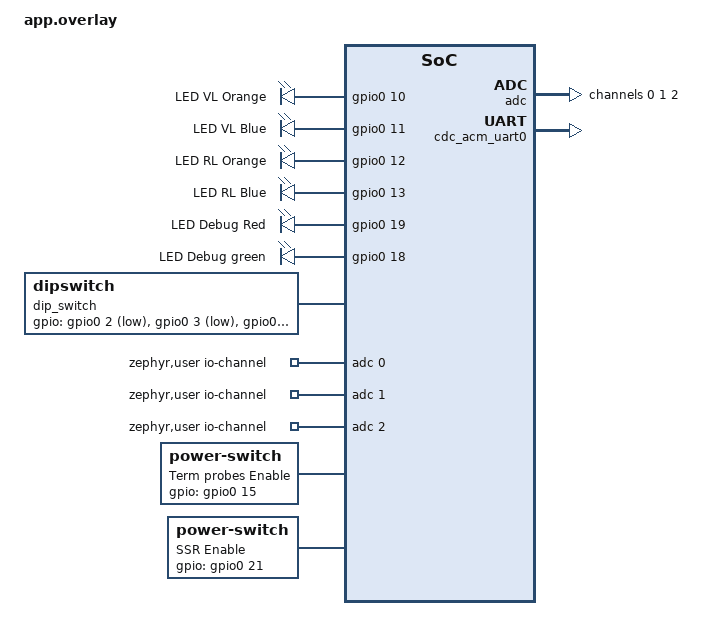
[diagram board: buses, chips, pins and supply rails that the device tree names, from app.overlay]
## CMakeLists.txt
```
cmake_minimum_required(VERSION 3.20.0)
set(BOARD rpi_pico)

find_package(Zephyr REQUIRED HINTS $ENV{ZEPHYR_BASE})
project(openzirk)


target_include_directories(app PRIVATE inc)
target_sources(app PRIVATE src/main.c src/current_sense.c src/temp_sense.c src/io.c)
```

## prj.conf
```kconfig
CONFIG_GPIO=y
CONFIG_ADC=y
CONFIG_EVENTS=y

CONFIG_MAIN_THREAD_PRIORITY=2

CONFIG_USB_DEVICE_STACK=y
CONFIG_USB_DEVICE_MANUFACTURER="OverEngineering Inc."
CONFIG_USB_DEVICE_PRODUCT="OpenZirk"
CONFIG_USB_DEVICE_PID=0x4712
CONFIG_USB_DEVICE_VID=0x2e8a
CONFIG_USB_DEVICE_INITIALIZE_AT_BOOT=y

CONFIG_TIMING_FUNCTIONS=y
```

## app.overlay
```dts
/ {
    openzirk_leds {
        compatible = "gpio-leds";

        led_vl_o: led_vl_o {
            gpios = <&gpio0 10 GPIO_ACTIVE_HIGH>;
            label = "LED VL Orange";
        };

        led_vl_b: led_vl_b {
            gpios = <&gpio0 11 GPIO_ACTIVE_HIGH>;
            label = "LED VL Blue";
        };

        led_rl_o: led_rl_o {
            gpios = <&gpio0 12 GPIO_ACTIVE_HIGH>;
            label = "LED RL Orange";
        };

        led_rl_b: led_rl_b {
            gpios = <&gpio0 13 GPIO_ACTIVE_HIGH>;
            label = "LED RL Blue";
        };

        led_debug_r: led_debug_r {
            gpios = <&gpio0 19 GPIO_ACTIVE_HIGH>;
            label = "LED Debug Red";
        };

        led_debug_g: led_debug_g {
            gpios = <&gpio0 18 GPIO_ACTIVE_HIGH>;
            label = "LED Debug green";
        };
    };

    dip_switch {
        compatible = "dipswitch";
        gpios = <&gpio0 2 (GPIO_ACTIVE_LOW | GPIO_PULL_UP)>,
                <&gpio0 3 (GPIO_ACTIVE_LOW | GPIO_PULL_UP)>,
                <&gpio0 4 (GPIO_ACTIVE_LOW | GPIO_PULL_UP)>,
                <&gpio0 5 (GPIO_ACTIVE_LOW | GPIO_PULL_UP)>;
    };

    zephyr,user  {
        io-channels = <&adc 0>, <&adc 1>, <&adc 2>;

        current_sensor_threshold_mv = <250>;
        current_sensor_minimal_active_time_ms = <900>;
        temp_warm_threshold = <35>;

        pump_duty_cycle_s = <60>;
        pump_mandatory_cooldown_min = <10>;
    };

    chosen {
        zephyr,console = &cdc_acm_uart0;
    };


    temp_probes_enable: temp_probes_enable {
        compatible = "power-switch";
        gpios = <&gpio0 15 GPIO_ACTIVE_HIGH>;
        label = "Term probes Enable";
    };
    ssr: ssr {
        compatible = "power-switch";
        gpios = <&gpio0 21 GPIO_ACTIVE_HIGH>;
        label = "SSR Enable";
    };

};

&adc {
    vref-mv = <3000>;
    #address-cells = <1>;
	#size-cells = <0>;

    channel@0 {
		reg = <0>;
		zephyr,gain = "ADC_GAIN_1";
		zephyr,reference = "ADC_REF_INTERNAL";
		zephyr,acquisition-time = <ADC_ACQ_TIME_DEFAULT>;
		zephyr,resolution = <12>;
	};
    channel@1 {
		reg = <1>;
		zephyr,gain = "ADC_GAIN_1";
		zephyr,reference = "ADC_REF_INTERNAL";
		zephyr,acquisition-time = <ADC_ACQ_TIME_DEFAULT>;
		zephyr,resolution = <12>;
	};
    channel@2 {
		reg = <2>;
		zephyr,gain = "ADC_GAIN_1";
		zephyr,reference = "ADC_REF_INTERNAL";
		zephyr,acquisition-time = <ADC_ACQ_TIME_DEFAULT>;
		zephyr,resolution = <12>;
	};
 };

 &zephyr_udc0 {
    cdc_acm_uart0: cdc_acm_uart0 {
        compatible = "zephyr,cdc-acm-uart";
    };
 };
```

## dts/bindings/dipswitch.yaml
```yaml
description: GPIO 

compatible: "dipswitch"

properties:
  gpios:
    type: phandle-array
    required: true
    description: |
      An array of the GPIOs connected to the switch
```

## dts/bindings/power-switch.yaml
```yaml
description: GPIO pin to switch a power output on or off

compatible: "power-switch"

properties:
  gpios:
    type: phandle-array
    required: true
    description: |
      The GPIO connected to the load driver.

  label:
    type: string
    required: false
    description: |
      A textual description of the device connected to the GPIO
```

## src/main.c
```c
/*
 * Copyright (c) 2024 Garwin
 *
 */

#include "app.h"
#include "current_sense.h"
#include "temp_sense.h"
#include "io.h"

#include <stdio.h>
#include <zephyr/kernel.h>
#include <zephyr/drivers/gpio.h>
#include <zephyr/drivers/adc.h>

/* 1000 msec = 1 sec */
#define MAINLOOP_MAX_EVENT_WAIT K_SECONDS(30)

#define DEFAULT_STACK_SIZE 512

K_THREAD_STACK_DEFINE(current_sense_thread_stack, DEFAULT_STACK_SIZE);
struct k_thread current_sense_thread;

K_THREAD_STACK_DEFINE(temp_sense_thread_stack, DEFAULT_STACK_SIZE);
struct k_thread temp_sense_thread;

K_EVENT_DEFINE(sensor_events);

bool enable_debug_output = false;
bool circulate_while_hotwater_pouring = false;

void disable_activation_debug_led(struct k_timer *timer) {
    (void)timer;
    set_debug_led_red(0);
}
K_TIMER_DEFINE(activation_debug_led_timer, NULL, NULL);

int main(void)
{
    printk("Application starting up.\n");
    io_init();
    uint8_t dipswitch_state = get_dipswitch_status();
    printk("Application config %x\n", dipswitch_state);
    if (dipswitch_state & 1) {
        printk("Debug output enabled\n");
        enable_debug_output = true;
    }
    if (dipswitch_state & 8) {
        printk("Circulate while hotwater pouring enabled\n");
        circulate_while_hotwater_pouring = true;
        if (dipswitch_state & 2) {
            printk("Initial double circlulation cycle.\n");
        }
    }

    struct TempSensors temp_sensors = {ATOMIC_INIT(INVALID), ATOMIC_INIT(INVALID)};


    (void)k_thread_create(&current_sense_thread, current_sense_thread_stack,
                          K_THREAD_STACK_SIZEOF(current_sense_thread_stack),
                          current_sense_main, &sensor_events, NULL, NULL, 0, K_USER,
                          K_NO_WAIT);
    (void)k_thread_create(&temp_sense_thread, temp_sense_thread_stack,
                          K_THREAD_STACK_SIZEOF(temp_sense_thread_stack),
                          temp_sense_main, &sensor_events, &temp_sensors, NULL, 2, K_USER,
                          K_NO_WAIT);

    int64_t last_pump_activation = k_uptime_get() -
                                   DT_PROP(DT_PATH(zephyr_user), pump_mandatory_cooldown_min) * 60 * 1000;

    while (1) {
        int32_t events = k_event_wait(&sensor_events, EVENT_CURRENT_SENSE, true, MAINLOOP_MAX_EVENT_WAIT);
        int64_t now = k_uptime_get();
        if (events == 0) {
            // still nothing we check when we last ran as we would like to activate the pump at least daily
            if (now - last_pump_activation < 24*60*60*1000) {
                // was run in the last 24h. Continue waiting
                continue;
            }
            printk("Issue daily cycle.\n");
        }
        if (enable_debug_output) {
            set_debug_led_red(1);
            k_timer_start(&activation_debug_led_timer, K_SECONDS(5), K_NO_WAIT);
        }
        if (circulate_while_hotwater_pouring) {
            // we circulate one cycle for the usual pump time (or x2) and then
            // in following cycles 30s, then after each such cycle disable the circulation pump
            // and see if the current sensor is still reporting current after 5s cooldown
            // (otherwise the circulation pump may keep the heat water pump active more or less indefinately)
                set_pump(1);
                int64_t delta = k_uptime_delta(&last_pump_activation);
                if (delta < 2000) {
                    // the pump was active less than a second ago, we probe every 30s
                    printk("Following cycle. Circulate for 30s.\n");
                    k_sleep(K_SECONDS(30));
                } else {
                    uint32_t cycle_time = DT_PROP(DT_PATH(zephyr_user), pump_duty_cycle_s);
                    if (dipswitch_state & 2) {
                        cycle_time *= 2;
                    }
                    printk("First cycle. Circulate for %is.\n", cycle_time);
                    k_sleep(K_SECONDS(cycle_time));
                }
                printk("Stop pump\n");
                set_pump(0);
                k_sleep(K_SECONDS(5));
                last_pump_activation = k_uptime_get();
                k_event_clear(&sensor_events, EVENT_CURRENT_SENSE);
                continue;
        } else {
            // we run if RL temp isn't still "warm"
            if (atomic_get(&temp_sensors.rl_status) == WARM) {
                printk("Current sensor detected but RL still warm.");
                continue;
            }
            if (now - last_pump_activation < DT_PROP(DT_PATH(zephyr_user), pump_mandatory_cooldown_min)*60*1000) {
                printf("Current sensor detected but still in mandatory cooldown\n.");
                continue;
            }

            // now run for duty cycle time or until RL becomes warm again
            printk("Start pump.\n");
            for (size_t i = 0; i < 2; ++i) {
                set_pump(1);
                last_pump_activation = k_uptime_get();
                events = k_event_wait(&sensor_events, EVENT_RL_WARM, true,
                                      K_SECONDS(DT_PROP(DT_PATH(zephyr_user), pump_duty_cycle_s)));
                if (events == 0) {
                    printk("Cycle time ended.\n");
                } else {
                    printk("RL sensor reports WARM\n");
                }
                // if VL still isn't warm, it may have taken a long time to get warm water from the tank
                // and we do an extra duty cycle
                if (atomic_get(&temp_sensors.vl_status) == WARM) {
                    break;
                }
                printk("VL still cold after one duty cycle. Prolong this cycle.\n");
            }
        }
        printk("Stop pump\n");
        set_pump(0);
        set_debug_led_green(0);
    }
    return 0;
}
```

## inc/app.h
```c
#include <stdbool.h>

#define EVENT_RL_WARM 0x1
#define EVENT_RL_COLD 0x2
#define EVENT_VL_WARM 0x4
#define EVENT_VL_COLD 0x8

#define EVENT_CURRENT_SENSE 0x10

extern bool enable_debug_output;
```

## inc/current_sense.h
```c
void current_sense_main(void *p1, void *p2, void *p3);
```

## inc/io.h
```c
#include <stdio.h>

void io_init();

void set_vl_led_blue();
void set_vl_led_orange();
void toggle_vl_leds();

void set_rl_led_blue();
void set_rl_led_orange();
void toggle_rl_leds();

void set_debug_led_red(int state);
void set_debug_led_green(int state);

void set_temp_probes_enable(int state);

void set_pump(int state);

uint8_t get_dipswitch_status();
```

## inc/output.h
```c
void output_init();

void set_vl_led_blue();
void set_vl_led_orange();

void set_rl_led_blue();
void set_rl_led_orange();

void set_debug_led_red(int state);
void set_debug_led_green(int state);

void set_temp_probes_enable(int state);

void set_pump(int state);
```

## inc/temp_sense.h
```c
#include <zephyr/kernel.h>

enum TempSensorStatus {
    COLD,
    WARM,
    INVALID,
};

struct TempSensors {
    atomic_t vl_status;
    atomic_t rl_status;
};

void temp_sense_init();
void temp_sense_main(void *p1, void* p2, void *p3);
```

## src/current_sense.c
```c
#include "app.h"

#include <zephyr/kernel.h>
#include <zephyr/drivers/adc.h>

#include <zephyr/timing/timing.h>

static const struct adc_dt_spec adc_current_sense = ADC_DT_SPEC_GET_BY_IDX(DT_PATH(zephyr_user), 0);


void current_sense_init() {
    if (!adc_is_ready_dt(&adc_current_sense)) {
        printk("Unable to init current sense ADC\n");
        return;
    }
    int err = adc_channel_setup_dt(&adc_current_sense);
    if (err < 0) {
        printk("Could not setup currense sense ADC channel (err=%d)\n", err);
        return;
    }
}

K_TIMER_DEFINE(adc_sample_timer, NULL, NULL);
#define SAMPLE_PERIOD_US 100
#define NET_FREQUENCY_PERIOD_MS 20
#define CURRENT_SENSE_ADC_SAMPLES (NET_FREQUENCY_PERIOD_MS*1000 / SAMPLE_PERIOD_US)
#define ROLLING_AVG_SIZE 6

/* Sample one period of the net frequency, filter with rolling average and return seen diff*/
int32_t get_current_sense_max_to_min_mv_diff() {
    int32_t mv_min = INT32_MAX;
    int32_t mv_max = INT32_MIN;
    int32_t rolling_avg_window[ROLLING_AVG_SIZE];
    int32_t rolling_sum = 0;
    size_t rolling_avg_current_index = 0;
    int64_t start_time = k_uptime_get();
    int64_t sample_start_time;
    int64_t one_sample_time;


    uint16_t adc_buf;
    struct adc_sequence sequence = {
        .buffer = &adc_buf,
        /* buffer size in bytes, not number of samples */
        .buffer_size = sizeof(adc_buf),
    };
    (void)adc_sequence_init_dt(&adc_current_sense, &sequence);


    sample_start_time = k_uptime_get();

    timing_t adc_read_start;
    timing_t adc_read_stop;
    uint64_t adc_read_cycles = 0;
    timing_t wait_start;
    timing_t wait_stop;
    uint64_t wait_cycles = 0;
    timing_init();
    timing_start();

    k_timer_start(&adc_sample_timer, K_NO_WAIT, K_USEC(SAMPLE_PERIOD_US));
    for (size_t sample = 0; sample < CURRENT_SENSE_ADC_SAMPLES; ++sample) {
        wait_start = timing_counter_get();
        k_timer_status_sync(&adc_sample_timer);
        wait_stop = timing_counter_get();
        wait_cycles += timing_cycles_get(&wait_start, &wait_stop);
        adc_read_start = timing_counter_get();
        (void)adc_read_dt(&adc_current_sense, &sequence);
        int32_t val_mv = (int32_t)adc_buf;
        (void)adc_raw_to_millivolts_dt(&adc_current_sense, &val_mv);
        adc_read_stop = timing_counter_get();
        adc_read_cycles += timing_cycles_get(&adc_read_start, &adc_read_stop);

        if (sample >= ROLLING_AVG_SIZE) {
            rolling_sum -= rolling_avg_window[rolling_avg_current_index];
        }
        rolling_sum += val_mv;
        rolling_avg_window[rolling_avg_current_index] = val_mv;
        rolling_avg_current_index = (rolling_avg_current_index +1) % ROLLING_AVG_SIZE;

        if (sample >= ROLLING_AVG_SIZE) {
            int32_t rolling_avg = rolling_sum / ROLLING_AVG_SIZE;
            if (rolling_avg < mv_min) {
                mv_min = rolling_avg;
            } else if (rolling_avg > mv_max) {
                mv_max = rolling_avg;
            }
        }
    }
    uint64_t adc_timing_ns = timing_cycles_to_ns_avg(adc_read_cycles, CURRENT_SENSE_ADC_SAMPLES);
    uint64_t adc_timer_time = timing_cycles_to_ns_avg(wait_cycles, CURRENT_SENSE_ADC_SAMPLES);
    one_sample_time = k_uptime_get() - sample_start_time;

    timing_stop();
    k_timer_stop(&adc_sample_timer);
    if (enable_debug_output) {
        printk("Filtered sequence ended. min=%imV, max=%imV, Δ=%imV, t=%llims, oneS=%llims, avgAdcTime=%lluns, avgTimerWait=%lluns\n",
               mv_min, mv_max, mv_max-mv_min, k_uptime_get() - start_time, one_sample_time, adc_timing_ns, adc_timer_time);
    }
    return mv_max - mv_min;
}

bool is_pump_active() {
    const size_t required_active_sequences =
        DT_PROP(DT_PATH(zephyr_user), current_sensor_minimal_active_time_ms) / NET_FREQUENCY_PERIOD_MS;
    for (size_t i = 0; i < required_active_sequences; ++i) {
        int32_t mv_diff = get_current_sense_max_to_min_mv_diff();
        if (mv_diff < DT_PROP(DT_PATH(zephyr_user), current_sensor_threshold_mv)) {
            if (enable_debug_output) {
                printk("Sampling stopped after %i sequences. -> Inactive\n", i);
            }
            return false;
        }
    }
    if (enable_debug_output) {
        printk("Sampled %i sequences above threshold -> Active\n", required_active_sequences);
    }
    return true;
}


void current_sense_main(void *p1, void *p2, void *p3) {
    struct k_event *sensor_events = (struct k_event*)p1;

    current_sense_init();
    // wait for stabilization capacitor to be fully charged
    k_msleep(50);

    while(1) {
        if (is_pump_active()) {
            k_event_post(sensor_events, EVENT_CURRENT_SENSE);
        }
        // wait a bit before we start another sampling sequence
        k_msleep(100);
    }

}
```

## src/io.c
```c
#include <zephyr/kernel.h>
#include <zephyr/drivers/gpio.h>

static const struct gpio_dt_spec pico_led = GPIO_DT_SPEC_GET(DT_ALIAS(led0), gpios);

static const struct gpio_dt_spec led_vl_b = GPIO_DT_SPEC_GET(DT_NODELABEL(led_vl_b), gpios);
static const struct gpio_dt_spec led_vl_o = GPIO_DT_SPEC_GET(DT_NODELABEL(led_vl_o), gpios);

static const struct gpio_dt_spec led_rl_b = GPIO_DT_SPEC_GET(DT_NODELABEL(led_rl_b), gpios);
static const struct gpio_dt_spec led_rl_o = GPIO_DT_SPEC_GET(DT_NODELABEL(led_rl_o), gpios);

static const struct gpio_dt_spec led_debug_r = GPIO_DT_SPEC_GET(DT_NODELABEL(led_debug_r), gpios);
static const struct gpio_dt_spec led_debug_g = GPIO_DT_SPEC_GET(DT_NODELABEL(led_debug_g), gpios);

static const struct gpio_dt_spec ssr = GPIO_DT_SPEC_GET(DT_NODELABEL(ssr), gpios);
static const struct gpio_dt_spec temp_probes_enable = GPIO_DT_SPEC_GET(DT_NODELABEL(temp_probes_enable), gpios);

static const struct gpio_dt_spec* all_gpios[] = {&pico_led, &led_vl_b, &led_vl_o, &led_rl_b, &led_rl_o,
                                                 &led_debug_r, &led_debug_g, &ssr, &temp_probes_enable};

static const struct gpio_dt_spec dipswitch[] = {
        DT_FOREACH_PROP_ELEM_SEP(DT_PATH(dip_switch), gpios,
                                 GPIO_DT_SPEC_GET_BY_IDX, (,))
};

void io_init() {
    for (size_t i = 0; i < ARRAY_SIZE(all_gpios); ++i) {
        int err = gpio_pin_configure_dt(all_gpios[i], GPIO_OUTPUT_INACTIVE);
        if (err < 0) {
            printk("Failed to init output gpio index %d", i);
        }
    }
    for (size_t i = 0; i < ARRAY_SIZE(dipswitch); ++i) {
        int err = gpio_pin_configure_dt(&dipswitch[i], GPIO_INPUT);
        if (err < 0) {
            printk("Failed to init dipswitch input gpio index %d", i);
        }
    }
    gpio_pin_set_dt(&pico_led, 1);
}

void set_vl_led_blue() {
    (void)gpio_pin_set_dt(&led_vl_b, 1);
    (void)gpio_pin_set_dt(&led_vl_o, 0);
}
void set_vl_led_orange() {
    (void)gpio_pin_set_dt(&led_vl_o, 1);
    (void)gpio_pin_set_dt(&led_vl_b, 0);
}
void toggle_vl_leds() {
    (void)gpio_pin_toggle_dt(&led_vl_b);
    (void)gpio_pin_toggle_dt(&led_vl_o);
}

void set_rl_led_blue() {
    (void)gpio_pin_set_dt(&led_rl_b, 1);
    (void)gpio_pin_set_dt(&led_rl_o, 0);
}
void set_rl_led_orange() {
    (void)gpio_pin_set_dt(&led_rl_o, 1);
    (void)gpio_pin_set_dt(&led_rl_b, 0);
}
void toggle_rl_leds() {
    (void)gpio_pin_toggle_dt(&led_rl_b);
    (void)gpio_pin_toggle_dt(&led_rl_o);
}

void set_debug_led_red(int state) {
    (void)gpio_pin_set_dt(&led_debug_r, state);
}
void set_debug_led_green(int state) {
    (void)gpio_pin_set_dt(&led_debug_g, state);
}

void set_temp_probes_enable(int state) {
    (void)gpio_pin_set_dt(&temp_probes_enable, state);
}

void set_pump(int state) {
    (void)gpio_pin_set_dt(&ssr, state);
}

uint8_t get_dipswitch_status() {
    uint8_t result = 0;
    for (size_t i = 0; i < ARRAY_SIZE(dipswitch); ++i) {
        if (gpio_pin_get_dt(&dipswitch[i])) {
            result |= (1<<i);
        }
    }
    return result;
}
```

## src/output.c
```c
#include <zephyr/kernel.h>
#include <zephyr/drivers/gpio.h>

static const struct gpio_dt_spec pico_led = GPIO_DT_SPEC_GET(DT_ALIAS(led0), gpios);

static const struct gpio_dt_spec led_vl_b = GPIO_DT_SPEC_GET(DT_NODELABEL(led_vl_b), gpios);
static const struct gpio_dt_spec led_vl_o = GPIO_DT_SPEC_GET(DT_NODELABEL(led_vl_o), gpios);

static const struct gpio_dt_spec led_rl_b = GPIO_DT_SPEC_GET(DT_NODELABEL(led_rl_b), gpios);
static const struct gpio_dt_spec led_rl_o = GPIO_DT_SPEC_GET(DT_NODELABEL(led_rl_o), gpios);

static const struct gpio_dt_spec led_debug_r = GPIO_DT_SPEC_GET(DT_NODELABEL(led_debug_r), gpios);
static const struct gpio_dt_spec led_debug_g = GPIO_DT_SPEC_GET(DT_NODELABEL(led_debug_g), gpios);

static const struct gpio_dt_spec ssr = GPIO_DT_SPEC_GET(DT_NODELABEL(ssr), gpios);
static const struct gpio_dt_spec temp_probes_enable = GPIO_DT_SPEC_GET(DT_NODELABEL(temp_probes_enable), gpios);

static const struct gpio_dt_spec* all_gpios[] = {&pico_led, &led_vl_b, &led_vl_o, &led_rl_b, &led_rl_o,
                                                 &led_debug_r, &led_debug_g, &ssr, &temp_probes_enable};

void output_init() {
    for (size_t i = 0; i < ARRAY_SIZE(all_gpios); ++i) {
        int err = gpio_pin_configure_dt(all_gpios[i], GPIO_OUTPUT_INACTIVE);
        if (err < 0) {
            printk("Failed to init gpio index %d", i);
        }
    }
    gpio_pin_set_dt(&pico_led, 1);
}

void set_vl_led_blue() {
    (void)gpio_pin_set_dt(&led_vl_b, 1);
    (void)gpio_pin_set_dt(&led_vl_o, 0);
}
void set_vl_led_orange() {
    (void)gpio_pin_set_dt(&led_vl_o, 1);
    (void)gpio_pin_set_dt(&led_vl_b, 0);
}

void set_rl_led_blue() {
    (void)gpio_pin_set_dt(&led_rl_b, 1);
    (void)gpio_pin_set_dt(&led_rl_o, 0);
}
void set_rl_led_orange() {
    (void)gpio_pin_set_dt(&led_rl_o, 1);
    (void)gpio_pin_set_dt(&led_rl_b, 0);
}

void set_debug_led_red(int state) {
    (void)gpio_pin_set_dt(&led_debug_r, state);
}
void set_debug_led_green(int state) {
    (void)gpio_pin_set_dt(&led_debug_g, state);
}

void set_temp_probes_enable(int state) {
    (void)gpio_pin_set_dt(&temp_probes_enable, state);
}

void set_pump(int state) {
    (void)gpio_pin_set_dt(&ssr, state);
}
```

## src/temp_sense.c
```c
#include "app.h"
#include "io.h"
#include "temp_sense.h"

#include <zephyr/kernel.h>
#include <zephyr/drivers/adc.h>

static const struct adc_dt_spec adc_temp_rl = ADC_DT_SPEC_GET_BY_IDX(DT_PATH(zephyr_user), 1);
static const struct adc_dt_spec adc_temp_vl = ADC_DT_SPEC_GET_BY_IDX(DT_PATH(zephyr_user), 2);


void temp_sense_init() {
    if (!adc_is_ready_dt(&adc_temp_rl)) {
        printk("Unable to init temp RL ADC\n");
        return;
    }
    int err = adc_channel_setup_dt(&adc_temp_rl);
    if (err < 0) {
        printk("Could not setup temp RL ADC channel (err=%d)\n", err);
        return;
    }
    if (!adc_is_ready_dt(&adc_temp_vl)) {
        printk("Unable to init temp VL ADC\n");
        return;
    }
     err = adc_channel_setup_dt(&adc_temp_vl);
    if (err < 0) {
        printk("Could not setup temp VL ADC channel (err=%d)\n", err);
        return;
    }
    printk("Temp sense init complete\n");
}

struct temp_sensor_measurements {
    int32_t vl_mv;
    int32_t rl_mv;
};

void get_temp_probes_raw(struct temp_sensor_measurements *measurements) {
    set_temp_probes_enable(1);
    // wait for stabilization
    k_msleep(2);
    uint16_t adc_buf;

    struct adc_sequence sequence = {
        .buffer = &adc_buf,
        /* buffer size in bytes, not number of samples */
        .buffer_size = sizeof(adc_buf),
    };
    (void)adc_sequence_init_dt(&adc_temp_rl, &sequence);
    (void)adc_read_dt(&adc_temp_rl, &sequence);
    measurements->rl_mv = (int32_t)adc_buf;
    (void)adc_raw_to_millivolts_dt(&adc_temp_rl, &measurements->rl_mv);

    (void)adc_sequence_init_dt(&adc_temp_vl, &sequence);
    (void)adc_read_dt(&adc_temp_vl, &sequence);
    measurements->vl_mv = (int32_t)adc_buf;
    (void)adc_raw_to_millivolts_dt(&adc_temp_vl, &measurements->vl_mv);

    set_temp_probes_enable(0);
}

int32_t temp_probe_mv_to_ohm(int32_t mv) {
    static const int32_t R_fixed = 1200;
    static const int32_t U_vv = 3280;
    return R_fixed*mv/(U_vv - mv);
}

int32_t temp_probe_ohm_to_deg_C(int32_t ohm) {
    return (ohm - 1000)*100/385;
}



void temp_sense_main(void *p1, void* p2, void *p3) {
    struct k_event *sensor_events = (struct k_event*)p1;
    struct TempSensors *sensors =(struct TempSensors *)p2;
    temp_sense_init();
    set_vl_led_blue();
    set_rl_led_blue();

    enum TempSensorStatus vl_status = INVALID;
    enum TempSensorStatus rl_status = INVALID;

    while (1) {
        struct temp_sensor_measurements meas;
        get_temp_probes_raw(&meas);

        int32_t rl_ohm = temp_probe_mv_to_ohm(meas.rl_mv);
        int32_t vl_ohm = temp_probe_mv_to_ohm(meas.vl_mv);

        uint32_t temp_vl_deg_c = temp_probe_ohm_to_deg_C(vl_ohm);
        uint32_t temp_rl_deg_c = temp_probe_ohm_to_deg_C(rl_ohm);

        if (enable_debug_output) {
            printk("Measures VL=%dmV, RL=%dmV, calculated VL=%dOhm, RL=%dOhm\n", meas.vl_mv, meas.rl_mv, vl_ohm, rl_ohm);
            printk("Estimated VL=%d°C, RL=%d°C\n", temp_vl_deg_c, temp_rl_deg_c);
        }

        if (temp_vl_deg_c > 200) {
            vl_status = INVALID;
            atomic_set(&sensors->vl_status, INVALID);
            toggle_vl_leds();
        }
        else if (temp_vl_deg_c > DT_PROP(DT_PATH(zephyr_user), temp_warm_threshold)) {
            set_vl_led_orange();
            atomic_set(&sensors->vl_status, WARM);
            if (vl_status != WARM) {
                k_event_post(sensor_events, EVENT_VL_WARM);
            }
            vl_status = WARM;
        } else {
            set_vl_led_blue();
            atomic_set(&sensors->vl_status, COLD);
            if (vl_status != COLD) {
                k_event_post(sensor_events, EVENT_VL_COLD);
            }
            vl_status = COLD;
        }

        if (temp_rl_deg_c > 200) {
            rl_status = INVALID;
            atomic_set(&sensors->rl_status, INVALID);
            toggle_rl_leds();
        } else if (temp_rl_deg_c > DT_PROP(DT_PATH(zephyr_user), temp_warm_threshold)) {
            set_rl_led_orange();
            atomic_set(&sensors->rl_status, WARM);
            if (rl_status != WARM) {
                k_event_post(sensor_events, EVENT_RL_WARM);
            }
            rl_status = WARM;
        } else {
            set_rl_led_blue();
            atomic_set(&sensors->rl_status, COLD);
            if (rl_status != COLD) {
                k_event_post(sensor_events, EVENT_RL_COLD);
            }
            rl_status = COLD;
        }

        k_msleep(1000);
    }
}
```
